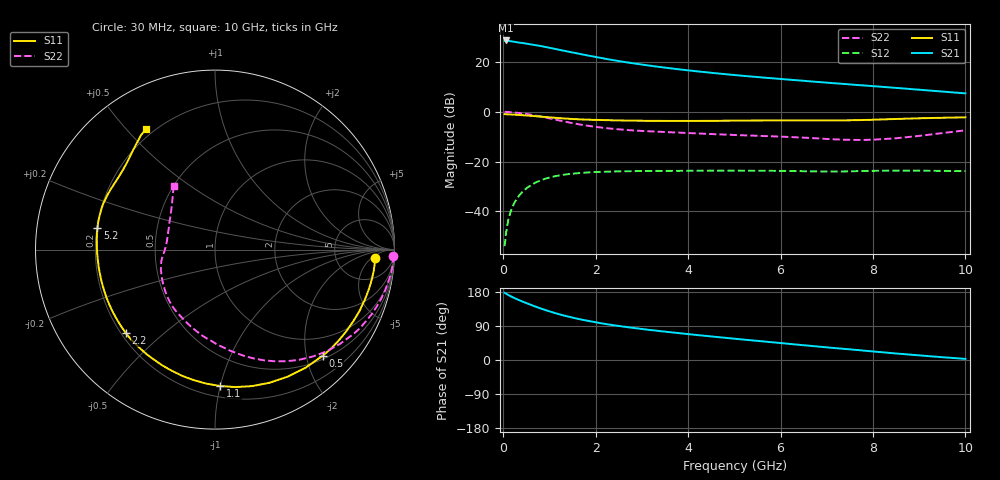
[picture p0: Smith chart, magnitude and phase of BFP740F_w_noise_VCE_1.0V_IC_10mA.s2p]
! Infineon Technologies  Discrete & RF Semiconductors
! BFP740F
! VCE =  1.0 V,  IC =  10 mA
! Common Emitter S-Parameters:  Oct 2012
# GHz  S  MA  R  50
!  f  S11  S21  S12  S22
! GHz  MAG  ANG  MAG  ANG  MAG  ANG  MAG  ANG
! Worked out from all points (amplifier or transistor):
!   99 points, 30 MHz to 10 GHz, reference 50 ohm
!   highest |S21| = 28.7 dB at 50 MHz (marker M1)
!   |S21| within 3 dB of that: start of sweep to 1.017 GHz
!   unconditionally stable (mu >= 1): 6.706 GHz to end of sweep
!   at 350 MHz: K = 0.08, MSG = 30.6 dB, |S12| = -33.5 dB
!   at 3.5 GHz: K = 0.49, MSG = 20.7 dB, |S12| = -23.7 dB
!   at 10 GHz: K = 1.31, MAG = 12.3 dB, |S12| = -23.8 dB
!   lowest NFmin = 0.44 dB at 450 MHz
!   S11 on the Smith chart (normalised r, x): 30 MHz: 15, -7; 500 MHz: 0.57, -2.33; 1.1 GHz: 0.28, -1.00; 2.2 GHz: 0.22, -0.38; 5.2 GHz: 0.20, +0.09; 10 GHz: 0.17, +0.57
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0.03  0.8953 -2.9  26.82 177.3  0.002 86.0  0.9939 -1.9
0.05  0.8928 -4.8  27.09 175.9  0.0028 80.0  0.9937 -3.3
0.15  0.8858 -14.2  26.22 168.9  0.0092 82.3  0.9833 -10.0
0.25  0.8743 -23.2  25.36 163.0  0.0153 77.5  0.9655 -16.4
0.4  0.8554 -36.3  24.19 155.0  0.0238 70.2  0.9298 -25.6
0.5  0.8428 -44.5  23.37 150.2  0.0289 65.9  0.9032 -31.4
0.6  0.8292 -52.6  22.59 145.4  0.0335 61.6  0.8724 -37.0
0.8  0.8015 -67.9  21.03 136.4  0.0416 53.6  0.8069 -47.6
0.9  0.7879 -74.9  20.17 132.3  0.045 49.8  0.7719 -52.7
1.1  0.7608 -87.8  18.5 124.6  0.0503 43.4  0.7046 -62.0
1.4  0.7268 -104.6  16.2 114.8  0.0559 35.6  0.6177 -74.2
1.7  0.7017 -118.5  14.26 106.5  0.0593 29.6  0.5481 -84.9
2  0.6875 -130.0  12.64 99.6  0.0617 24.7  0.4984 -94.9
2.2  0.6804 -136.7  11.67 95.3  0.0624 21.9  0.4729 -101.1
2.7  0.6659 -149.8  9.764 86.5  0.064 16.8  0.429 -113.3
3.4  0.6568 -164.0  7.921 76.1  0.0649 11.8  0.3963 -126.4
4.2  0.6558 -176.6  6.491 65.8  0.0654 7.7  0.3674 -137.6
5.1  0.6652 171.0  5.37 55.1  0.0656 4.2  0.3397 -149.8
5.2  0.6658 169.7  5.273 53.9  0.0655 3.9  0.337 -151.1
6.7  0.6709 150.8  4.045 36.8  0.0636 -0.1  0.296 -172.1
8.5  0.7173 129.6  3.018 17.2  0.0658 -1.9  0.2939 149.8
10  0.7738 119.9  2.345 2.9  0.0642 -5.1  0.4242 122.9
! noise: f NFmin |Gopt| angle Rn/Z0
0.45  0.44  0.22  5  0.24
0.9  0.49  0.22  12  0.16
1.5  0.57  0.22  23  0.1
1.9  0.61  0.21  31  0.07
2.4  0.66  0.21  42  0.06
3.5  0.78  0.18  66  0.09
5.5  0.98  0.1  127  0.1
10  1.39  0.38  -118  0.09
